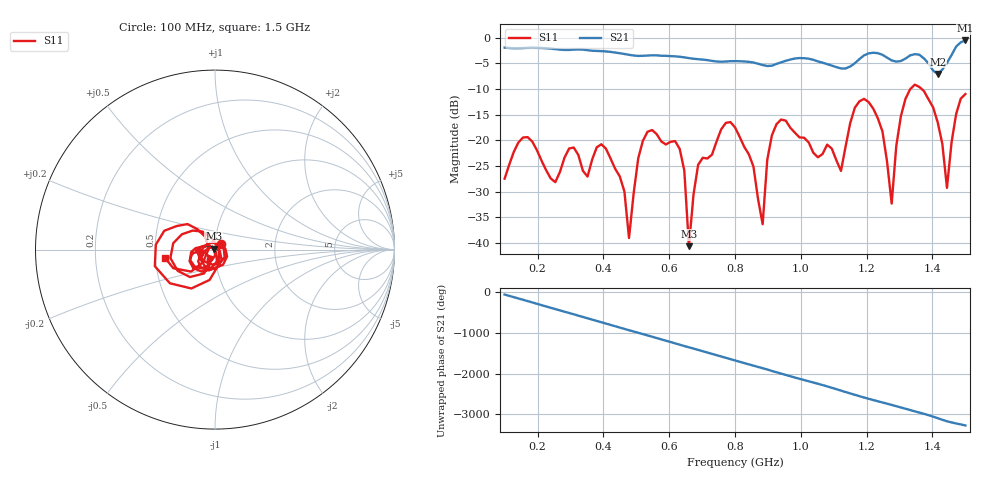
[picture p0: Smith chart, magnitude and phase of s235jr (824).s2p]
! NanoVNA-App
! Date: 2025-09-25 15:10:35
! Start: 100MHz Stop: 1,5GHz Points: 101
! S-Parameter data: F S11 S21 S12 S22
# Hz S RI R 50
!  Frequency  S11_Real  S11_Imag  S21_Real  S21_Imag  S12_Real  S12_Imag  S22_Real  S22_Imag
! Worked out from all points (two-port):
!   101 points, 100 MHz to 1.5 GHz, reference 50 ohm
!   highest |S21| = -0.57 dB at 1.5 GHz (marker M1); lowest = -7.1 dB at 1.416 GHz (marker M2)
!   |S21| within 3 dB of the highest: start of sweep to 504.6 MHz; 510.6 MHz to 592.7 MHz (82.13 MHz wide, 14.9 % of centre) (the widest 2 of 5)
!   lowest |S11| = -40.6 dB at 660 MHz (marker M3), VSWR 1.02, Z = 49.3 + j0.572 ohm
!   |S11| at or under -10 dB: start of sweep to 1.333 GHz; 1.367 GHz to end of sweep
!   S12 and S22 are empty: the file has one direction only
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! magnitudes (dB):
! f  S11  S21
! 100 MHz  -27.5  -2.0
! 156 MHz  -19.5  -2.1
! 338 MHz  -25.9  -2.4
! 408 MHz  -21.6  -2.7
! 478 MHz  -39.0  -3.4
! 520 MHz  -20.1  -3.6
! 576 MHz  -20.2  -3.5
! 632 MHz  -21.7  -3.7
! 660 MHz  -40.6  -4.0
! 688 MHz  -24.8  -4.2
! 800 MHz  -17.5  -4.6
! 884 MHz  -36.3  -5.4
! 926 MHz  -16.9  -5.1
! 1.038 GHz  -22.4  -4.3
! 1.122 GHz  -26.0  -6.0
! 1.192 GHz  -11.9  -3.5
! 1.248 GHz  -18.3  -3.4
! 1.276 GHz  -32.3  -4.5
! 1.332 GHz  -10.1  -3.5
! 1.416 GHz  -16.5  -7.1
! 1.444 GHz  -29.2  -4.9
! 1.5 GHz  -11.0  -0.6
